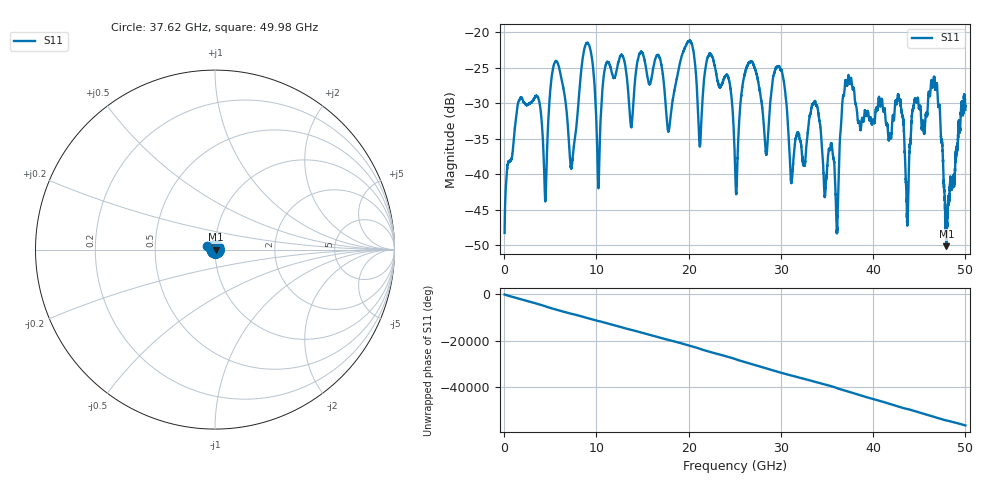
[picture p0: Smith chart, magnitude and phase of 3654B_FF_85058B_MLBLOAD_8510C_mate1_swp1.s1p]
!Created with skrf (http://scikit-rf.org).
# Hz S RI R 50.0
!freq ReS11 ImS11
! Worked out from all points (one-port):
!   10001 points, 45 MHz to 50 GHz, reference 50 ohm
!   lowest |S11| = -50.1 dB at 47.94 GHz (marker M1), VSWR 1.01, Z = 50.3 - j0.0195 ohm
!   |S11| at or under -10 dB: start of sweep to end of sweep
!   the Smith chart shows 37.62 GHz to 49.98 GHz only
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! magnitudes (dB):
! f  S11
! 45 MHz  -48.2
! 1.654 GHz  -29.6
! 4.446 GHz  -43.7
! 5.295 GHz  -25.1
! 6.289 GHz  -27.0
! 7.323 GHz  -38.9
! 9.157 GHz  -21.7
! 10.23 GHz  -41.9
! 12.53 GHz  -23.5
! 13.76 GHz  -33.3
! 14.79 GHz  -22.8
! 17.81 GHz  -34.0
! 18.78 GHz  -26.0
! 24.2 GHz  -26.0
! 25.02 GHz  -38.5
! 26.74 GHz  -24.1
! 28.4 GHz  -37.2
! 30 GHz  -25.2
! 31.27 GHz  -39.7
! 33.71 GHz  -29.8
! 36.07 GHz  -48.0
! 37.51 GHz  -27.1
! 42.83 GHz  -29.6
! 43.76 GHz  -46.0
! 44.43 GHz  -30.2
! 46.71 GHz  -27.5
! 47.94 GHz  -50.1
! 50 GHz  -30.9
